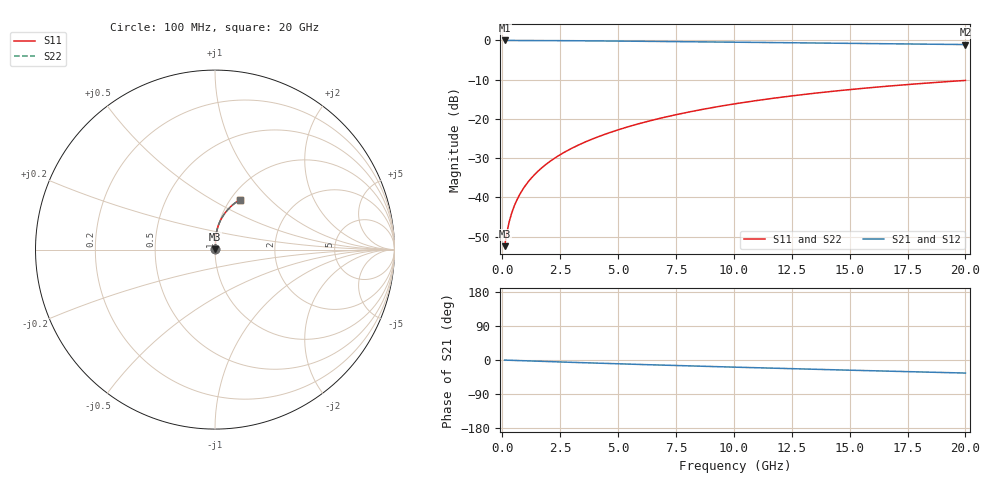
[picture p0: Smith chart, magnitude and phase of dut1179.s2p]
! Touchstone file exported from HFSS 2024.1.0
!  File:  C:/UserFiles/LocalFiles/RDL_TSV_Batchsim/temp_RDL_bottom_1179_1780057205.aedt
!  Generated:  08:22:14 PM May 29, 2026
!  Design:  RDL_bottom
!  Project:  temp_RDL_bottom_1179_1780057205
!  Setup:  Setup1
!  Solution:  Sweep
! Variables:
!  dtsv = 10.80580581um
!  hbump = 3um
!  htsv = 65.57um
!  ldown = 496.85um
!  lrdl = 100um
!  p = 40
!  p1 = 49.49um
!  rhole = 1um
!  t = 450um
!  tdown = 4.6um
!  trdl = 3.915915916um
!  wdown = 23.06um
!  wrdl = 20um
# GHz S MA R 50.000000
! Terminal data exported
! Port[1] = RDL1_T1
! Port[2] = RDL1_T2
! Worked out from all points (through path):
!   200 points, 100 MHz to 20 GHz, reference 50 ohm
!   highest |S21| = -0.02 dB at 100 MHz (marker M1); lowest = -1.1 dB at 20 GHz (marker M2)
!   group delay of S21, straight-line fit = 4.73 ps
!   lowest |S11| = -52.4 dB at 100 MHz (marker M3), VSWR 1.00, Z = 50.2 + j0.155 ohm
!   |S11| at or under -10 dB: start of sweep to end of sweep
!   |S22| runs from -52.4 to -10.2 dB; largest |S21 - S12| = 3.8e-15
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0.1  0.0024 40.0  0.9982 -0.2  0.9982 -0.2  0.0024 40.0
! Gamma 0 0 0 0
! Port Impedance 50 0 50 0
0.2  0.003604 57.5  0.998 -0.4  0.998 -0.4  0.003604 57.5
0.3  0.004923 65.3  0.9979 -0.6  0.9979 -0.6  0.004923 65.3
0.4  0.00625 69.8  0.9977 -0.9  0.9977 -0.9  0.00625 69.8
0.5  0.007571 72.7  0.9976 -1.1  0.9976 -1.1  0.007571 72.7
0.6  0.00889 74.9  0.9974 -1.3  0.9974 -1.3  0.008891 74.9
0.8  0.01154 78.0  0.9971 -1.7  0.9971 -1.7  0.01154 78.0
1.1  0.01557 80.9  0.9966 -2.3  0.9966 -2.3  0.01557 80.9
1.3  0.01828 82.2  0.9962 -2.7  0.9962 -2.7  0.01828 82.2
1.6  0.0224 83.6  0.9955 -3.3  0.9955 -3.3  0.0224 83.6
2.1  0.02938 85.0  0.994 -4.3  0.994 -4.3  0.02938 85.0
2.7  0.03793 86.0  0.9918 -5.6  0.9918 -5.6  0.03793 86.0
3.5  0.04966 86.5  0.9883 -7.1  0.9883 -7.1  0.04966 86.5
4.2  0.06023 86.6  0.9848 -8.5  0.9848 -8.5  0.06023 86.6
5  0.07264 86.3  0.9803 -10.0  0.9803 -10.0  0.07264 86.3
6.8  0.1016 84.8  0.9695 -13.3  0.9695 -13.3  0.1016 84.8
8.4  0.1282 82.8  0.9594 -16.1  0.9594 -16.1  0.1282 82.8
10.1  0.1567 80.2  0.9485 -19.0  0.9485 -19.0  0.1567 80.2
11.7  0.1833 77.6  0.9383 -21.6  0.9383 -21.6  0.1833 77.6
13.4  0.211 74.7  0.9275 -24.4  0.9275 -24.4  0.211 74.7
16.7  0.2622 69.1  0.9063 -29.5  0.9063 -29.5  0.2622 69.1
20  0.3093 63.6  0.885 -34.5  0.885 -34.5  0.3092 63.6
